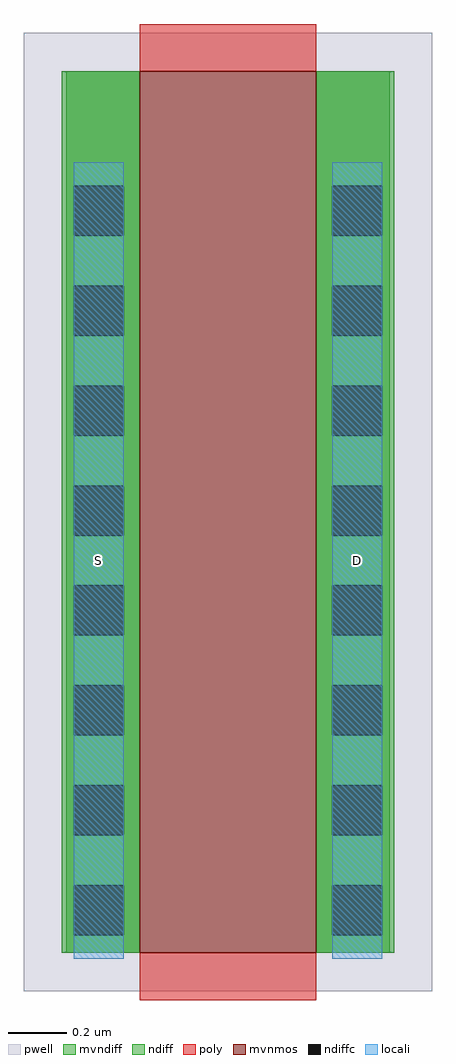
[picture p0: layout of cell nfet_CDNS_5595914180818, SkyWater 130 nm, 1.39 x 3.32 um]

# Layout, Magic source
magic
tech sky130A
magscale 1 2
<< pwell >>
rect -76 -26 196 626
<< mvnmos >>
rect 0 0 120 600
<< mvndiff >>
rect -50 0 0 600
rect 120 0 170 600
<< poly >>
rect 0 600 120 632
rect 0 -32 120 0
<< locali >>
rect -45 -4 -11 538
rect 131 -4 165 538
use DFL1sd_CDNS_5595914180819  DFL1sd_CDNS_5595914180819_0
transform -1 0 0 0 1 0
box -26 -26 79 626
use DFL1sd_CDNS_5595914180819  DFL1sd_CDNS_5595914180819_1
transform 1 0 120 0 1 0
box -26 -26 79 626
<< labels >>
flabel comment s 148 267 148 267 0 FreeSans 300 0 0 0 D
flabel comment s -28 267 -28 267 0 FreeSans 300 0 0 0 S
<< properties >>
string GDS_END 653796
string GDS_FILE $PDKPATH/libs.ref/sky130_fd_io/gds/sky130_fd_io.gds
string GDS_START 652910
<< end >>

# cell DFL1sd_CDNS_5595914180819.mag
magic
tech sky130A
magscale 1 2
<< pwell >>
rect -26 -26 79 626
<< ndiff >>
rect 0 522 53 600
rect 0 488 11 522
rect 45 488 53 522
rect 0 454 53 488
rect 0 420 11 454
rect 45 420 53 454
rect 0 386 53 420
rect 0 352 11 386
rect 45 352 53 386
rect 0 318 53 352
rect 0 284 11 318
rect 45 284 53 318
rect 0 250 53 284
rect 0 216 11 250
rect 45 216 53 250
rect 0 182 53 216
rect 0 148 11 182
rect 45 148 53 182
rect 0 114 53 148
rect 0 80 11 114
rect 45 80 53 114
rect 0 46 53 80
rect 0 12 11 46
rect 45 12 53 46
rect 0 0 53 12
<< ndiffc >>
rect 11 488 45 522
rect 11 420 45 454
rect 11 352 45 386
rect 11 284 45 318
rect 11 216 45 250
rect 11 148 45 182
rect 11 80 45 114
rect 11 12 45 46
<< locali >>
rect 11 522 45 538
rect 11 454 45 488
rect 11 386 45 420
rect 11 318 45 352
rect 11 250 45 284
rect 11 182 45 216
rect 11 114 45 148
rect 11 46 45 80
rect 11 -4 45 12
<< properties >>
string GDS_END 652854
string GDS_FILE $PDKPATH/libs.ref/sky130_fd_io/gds/sky130_fd_io.gds
string GDS_START 652146
<< end >>
